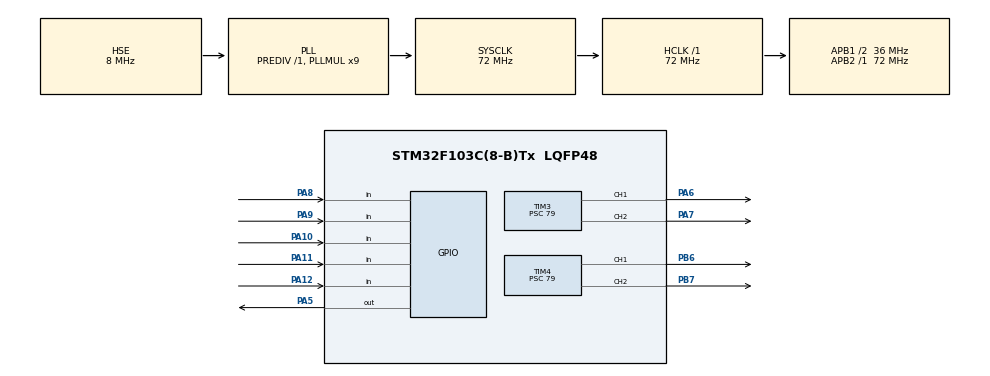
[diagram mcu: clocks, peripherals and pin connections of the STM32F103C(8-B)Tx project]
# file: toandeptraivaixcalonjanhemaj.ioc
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Mcu.Family=STM32F1
Mcu.Name=STM32F103C(8-B)Tx
Mcu.Package=LQFP48
NVIC.PriorityGroup=NVIC_PRIORITYGROUP_4
NVIC.TIM1_UP_IRQn=true\:0\:0\:false\:false\:true\:true\:true\:true
PA10.Signal=GPIO_Input
PA11.Signal=GPIO_Input
PA12.Signal=GPIO_Input
PA13.Mode=Serial_Wire
PA13.Signal=SYS_JTMS-SWDIO
PA14.Mode=Serial_Wire
PA14.Signal=SYS_JTCK-SWCLK
PA5.Signal=GPIO_Output
PA6.Signal=S_TIM3_CH1
PA7.Signal=S_TIM3_CH2
PA8.Signal=GPIO_Input
PA9.Signal=GPIO_Input
PB6.Signal=S_TIM4_CH1
PB7.Signal=S_TIM4_CH2
PD0-OSC_IN.Mode=HSE-External-Oscillator
PD0-OSC_IN.Signal=RCC_OSC_IN
PD1-OSC_OUT.Mode=HSE-External-Oscillator
PD1-OSC_OUT.Signal=RCC_OSC_OUT
ProjectManager.HeapSize=0x200
ProjectManager.StackSize=0x400
ProjectManager.TargetToolchain=STM32CubeIDE
RCC.AHBFreq_Value=72000000
RCC.APB1CLKDivider=RCC_HCLK_DIV2
RCC.APB1Freq_Value=36000000
RCC.APB1TimFreq_Value=72000000
RCC.APB2Freq_Value=72000000
RCC.APB2TimFreq_Value=72000000
RCC.HCLKFreq_Value=72000000
RCC.PLLMUL=RCC_PLL_MUL9
RCC.PLLSourceVirtual=RCC_PLLSOURCE_HSE
RCC.SYSCLKFreq_VALUE=72000000
RCC.SYSCLKSource=RCC_SYSCLKSOURCE_PLLCLK
RCC.USBFreq_Value=72000000
SH.S_TIM3_CH1.0=TIM3_CH1,PWM Generation1 CH1
SH.S_TIM3_CH2.0=TIM3_CH2,PWM Generation2 CH2
SH.S_TIM4_CH1.0=TIM4_CH1,PWM Generation1 CH1
SH.S_TIM4_CH2.0=TIM4_CH2,PWM Generation2 CH2
TIM3.Channel-PWM\ Generation1\ CH1=TIM_CHANNEL_1
TIM3.Channel-PWM\ Generation2\ CH2=TIM_CHANNEL_2
TIM3.Period=999
TIM3.Prescaler=79
TIM3.Pulse-PWM\ Generation1\ CH1=499
TIM3.Pulse-PWM\ Generation2\ CH2=499
TIM4.Channel-PWM\ Generation1\ CH1=TIM_CHANNEL_1
TIM4.Channel-PWM\ Generation2\ CH2=TIM_CHANNEL_2
TIM4.Period=999
TIM4.Prescaler=79
TIM4.Pulse-PWM\ Generation1\ CH1=499
TIM4.Pulse-PWM\ Generation2\ CH2=499
VP_TIM1_VS_ClockSourceINT.Mode=Internal
VP_TIM3_VS_ClockSourceINT.Mode=Internal
VP_TIM4_VS_ClockSourceINT.Mode=Internal
board=custom

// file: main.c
/* USER CODE BEGIN Header */
/**
  ******************************************************************************
  * @file           : main.c
  * @brief          : Main program body
  ******************************************************************************
  * @attention
  *
  * Copyright (c) 2024 STMicroelectronics.
  * All rights reserved.
  *
  * This software is licensed under terms that can be found in the LICENSE file
  * in the root directory of this software component.
  * If no LICENSE file comes with this software, it is provided AS-IS.
  *
  ******************************************************************************
  */
  /* USER CODE END Header */
  /* Includes ------------------------------------------------------------------*/
#include "main.h"
#include "stm32f1xx_hal.h"

TIM_HandleTypeDef htim1;
TIM_HandleTypeDef htim3;
TIM_HandleTypeDef htim4;

void SystemClock_Config(void);
static void MX_GPIO_Init(void);
static void MX_TIM1_Init(void);
static void MX_TIM3_Init(void);
static void MX_TIM4_Init(void);

int main(void)
{

	/* MCU Configuration--------------------------------------------------------*/

	/* Reset of all peripherals, Initializes the Flash interface and the Systick. */
	HAL_Init();

	/* Configure the system clock */
	SystemClock_Config();

	/* Initialize all configured peripherals */
	MX_GPIO_Init();
	MX_TIM1_Init();
	MX_TIM3_Init();
	MX_TIM4_Init();

	/* Infinite loop */
	/* USER CODE BEGIN WHILE */
	while (1)
	{
#define SENSOR1_GPIO_Port GPIOA
#define SENSOR1_Pin GPIO_PIN_8

#define SENSOR2_GPIO_Port GPIOA
#define SENSOR2_Pin GPIO_PIN_9

#define SENSOR3_GPIO_Port GPIOA
#define SENSOR3_Pin GPIO_PIN_10

#define SENSOR4_GPIO_Port GPIOA
#define SENSOR4_Pin GPIO_PIN_11

#define SENSOR5_GPIO_Port GPIOA
#define SENSOR5_Pin GPIO_PIN_12

#define SENSOR6_GPIO_Port GPIOA
#define SENSOR6_Pin GPIO_PIN_13
#define LEDON_GPIO_Port GPIOA
#define LEDON_Pin GPIO_PIN_5
		/* USER CODE END PTD */

		/* Private define ------------------------------------------------------------*/
		/* USER CODE BEGIN PD */
		/* USER CODE END PD */

		/* Private macro -------------------------------------------------------------*/
		/* USER CODE BEGIN PM */

		/* USER CODE END PM */

		/* Private variables ---------------------------------------------------------*/

		/* USER CODE BEGIN PV */
		int sensor_read = 0x000000;
		int position;

		float Kp = 10; //set up the constants value
		// float Ki = 0.001;
		float Kd = 15;
		//float Kr = 0;
		int P, I, D;
		int lastError = 0;
		int errors[10] = { 0,0,0,0,0,0,0,0,0,0 }; //chú ý
		int error_sum = 0;
		int last_end = 0;	// 0 -> Left, 1 -> Right
		int last_idle = 0;

		const uint8_t maxspeedr = 100;
		const uint8_t maxspeedl = 100;
		const uint8_t basespeedr = 92;
		const uint8_t basespeedl = 92;
		const int ARR = 10;

		int actives = 0;
		/* USER CODE END PV */

		/* Private function prototypes -----------------------------------------------*/

		/* USER CODE END PFP */

		/* Private user code ---------------------------------------------------------*/
		/* USER CODE BEGIN 0 */
		//void delay_us (uint16_t us)
		//{
			//__HAL_TIM_SET_COUNTER(&htim1,0);  // set the counter value a 0
			//while (__HAL_TIM_GET_COUNTER(&htim1) < us);  // wait for the counter to reach the us input in the parameter
		//}

		void Set_Pin_Output(GPIO_TypeDef * GPIOx, uint16_t GPIO_Pin)
		{
			GPIO_InitTypeDef GPIO_InitStruct = { 0 };
			GPIO_InitStruct.Pin = GPIO_Pin;
			GPIO_InitStruct.Mode = GPIO_MODE_OUTPUT_PP;
			GPIO_InitStruct.Speed = GPIO_SPEED_FREQ_LOW;
			HAL_GPIO_Init(GPIOx, &GPIO_InitStruct);
		}

		void Set_Pin_Input(GPIO_TypeDef * GPIOx, uint16_t GPIO_Pin)
		{
			GPIO_InitTypeDef GPIO_InitStruct = { 0 };
			GPIO_InitStruct.Pin = GPIO_Pin;
			GPIO_InitStruct.Mode = GPIO_MODE_INPUT;
			GPIO_InitStruct.Pull = GPIO_PULLUP;
			HAL_GPIO_Init(GPIOx, &GPIO_InitStruct);
		}

		void motor_control(double pos_right, double pos_left)
		{
			if (pos_left < 0)
			{
				__HAL_TIM_SET_COMPARE(&htim3, TIM_CHANNEL_1, ARR * 0);
				__HAL_TIM_SET_COMPARE(&htim3, TIM_CHANNEL_2, ARR * pos_left);
			}
			else
			{
				__HAL_TIM_SET_COMPARE(&htim3, TIM_CHANNEL_1, ARR * pos_left);
				__HAL_TIM_SET_COMPARE(&htim3, TIM_CHANNEL_2, ARR * 0);
			}
			if (pos_right < 0)
			{
				__HAL_TIM_SET_COMPARE(&htim4, TIM_CHANNEL_1, ARR * 0);
				__HAL_TIM_SET_COMPARE(&htim4, TIM_CHANNEL_2, ARR * pos_right);
			}
			else
			{
				__HAL_TIM_SET_COMPARE(&htim4, TIM_CHANNEL_1, ARR * pos_right);
				__HAL_TIM_SET_COMPARE(&htim4, TIM_CHANNEL_2, ARR * 0);
			}
		}

		void sharp_turn() {

			if (last_idle < 25)
			{
				if (last_end == 1)
					motor_control(-20, 100);
				else
					motor_control(100, -20);
			}
			else
			{
				if (last_end == 1)
					motor_control(-53, 70);
				else
					motor_control(70, -53);
			}
		}

		int QTR8_read()
		{
			//HAL_GPIO_WritePin(LEDON_GPIO_Port, LEDON_Pin, 1);

			Set_Pin_Output(SENSOR1_GPIO_Port, SENSOR1_Pin);
			Set_Pin_Output(SENSOR2_GPIO_Port, SENSOR2_Pin);
			Set_Pin_Output(SENSOR3_GPIO_Port, SENSOR3_Pin);
			Set_Pin_Output(SENSOR4_GPIO_Port, SENSOR4_Pin);
			Set_Pin_Output(SENSOR5_GPIO_Port, SENSOR5_Pin);
			//Set_Pin_Output(SENSOR6_GPIO_Port, SENSOR6_Pin);
			//Set_Pin_Output(SENSOR7_GPIO_Port, SENSOR7_Pin);
			//Set_Pin_Output(SENSOR8_GPIO_Port, SENSOR8_Pin);

			HAL_GPIO_WritePin(SENSOR1_GPIO_Port, SENSOR1_Pin, 1);
			HAL_GPIO_WritePin(SENSOR2_GPIO_Port, SENSOR2_Pin, 1);
			HAL_GPIO_WritePin(SENSOR3_GPIO_Port, SENSOR3_Pin, 1);
			HAL_GPIO_WritePin(SENSOR4_GPIO_Port, SENSOR4_Pin, 1);
			HAL_GPIO_WritePin(SENSOR5_GPIO_Port, SENSOR5_Pin, 1);
			//HAL_GPIO_WritePin (SENSOR6_GPIO_Port, SENSOR6_Pin, 1);
			//HAL_GPIO_WritePin (SENSOR7_GPIO_Port, SENSOR7_Pin, 1);
			//HAL_GPIO_WritePin (SENSOR8_GPIO_Port, SENSOR8_Pin, 1);
			HAL_Delay(1000);

			Set_Pin_Input(SENSOR1_GPIO_Port, SENSOR1_Pin);
			Set_Pin_Input(SENSOR2_GPIO_Port, SENSOR2_Pin);
			Set_Pin_Input(SENSOR3_GPIO_Port, SENSOR3_Pin);
			Set_Pin_Input(SENSOR4_GPIO_Port, SENSOR4_Pin);
			Set_Pin_Input(SENSOR5_GPIO_Port, SENSOR5_Pin);
			//Set_Pin_Input(SENSOR6_GPIO_Port, SENSOR6_Pin);
			//Set_Pin_Input(SENSOR7_GPIO_Port, SENSOR7_Pin);
			//Set_Pin_Input(SENSOR8_GPIO_Port, SENSOR8_Pin);

			// Threshold
			//delay_us(6000);

			sensor_read = 0x00000;
			int pos = 0;
			int active = 0;

			if (HAL_GPIO_ReadPin(SENSOR1_GPIO_Port, SENSOR1_Pin)) {
				sensor_read |= 0x00001;
				pos += 1000;
				active++;
				last_end = 1;
			}
			if (HAL_GPIO_ReadPin(SENSOR2_GPIO_Port, SENSOR2_Pin)) {
				sensor_read |= 0x00010;
				pos += 2000;
				active++;
			}
			if (HAL_GPIO_ReadPin(SENSOR3_GPIO_Port, SENSOR3_Pin)) {
				sensor_read |= 0x00100;
				pos += 3000;
				active++;
			}
			if (HAL_GPIO_ReadPin(SENSOR4_GPIO_Port, SENSOR4_Pin)) {
				sensor_read |= 0x01000;
				pos += 4000;
				active++;
			}
			if (HAL_GPIO_ReadPin(SENSOR5_GPIO_Port, SENSOR5_Pin)) {
				sensor_read |= 0x10000;
				pos += 5000;
				active++;
				last_end = 0;
			}
			//if (HAL_GPIO_ReadPin(SENSOR6_GPIO_Port, SENSOR6_Pin)) {
				//sensor_read |= 0x100000;
				//pos += 6000;
			//active++;
			//last_end = 0;
		 // }
			/*if (HAL_GPIO_ReadPin(SENSOR7_GPIO_Port, SENSOR7_Pin)) {
				sensor_read |= 0x01000000;
				pos += 7000;
			active++;
		  }
			if (HAL_GPIO_ReadPin(SENSOR8_GPIO_Port, SENSOR8_Pin)) {
				sensor_read |= 0x10000000;
				pos += 8000;
			active++;
				last_end = 0;
		  }*/

		  //HAL_GPIO_WritePin(LEDON_GPIO_Port, LEDON_Pin, 0);

			actives = active;
			position = pos / active;

			if (actives == 0)
				last_idle++;
			else
				last_idle = 0;

			return pos / active;
		}

		void forward_brake(int pos_right, int pos_left)
		{
			if (actives == 0)
				sharp_turn();
			else
				motor_control(pos_right, pos_left);
		}

		void past_errors(int error)
		{
			for (int i = 9; i > 0; i--)
				errors[i] = errors[i - 1];
			errors[0] = error;
		}

		int errors_sum(int index, int abs)
		{
			int sum = 0;
			for (int i = 0; i < index; i++)
			{
				if (abs == 1 && errors[i] < 0)
					sum += -errors[i];
				else
					sum += errors[i];
			}
			return sum;
		}

		void PID_control() {
			uint16_t position;
			int error = 3000 - position;
			past_errors(error);

			P = error;
			// I = errors_sum(5, 0);
			D = error - lastError;
			//  R = errors_sum(5, 1);
			lastError = error;

			int motorspeed = P * Kp + D * Kd;

			int motorspeedl = basespeedl + motorspeed; //- R*Kr;
			int motorspeedr = basespeedr - motorspeed;//- R*Kr;

			if (motorspeedl > maxspeedl)
				motorspeedl = maxspeedl;
			if (motorspeedr > maxspeedr)
				motorspeedr = maxspeedr;

			forward_brake(motorspeedr, motorspeedl);
		}

		/* USER CODE END WHILE */

	}
}

void SystemClock_Config(void)
{
	RCC_OscInitTypeDef RCC_OscInitStruct = { 0 };
	RCC_ClkInitTypeDef RCC_ClkInitStruct = { 0 };

	/** Initializes the RCC Oscillators according to the specified parameters
	* in the RCC_OscInitTypeDef structure.
	*/
	RCC_OscInitStruct.OscillatorType = RCC_OSCILLATORTYPE_HSE;
	RCC_OscInitStruct.HSEState = RCC_HSE_ON;
	RCC_OscInitStruct.HSEPredivValue = RCC_HSE_PREDIV_DIV1;
	RCC_OscInitStruct.HSIState = RCC_HSI_ON;
	RCC_OscInitStruct.PLL.PLLState = RCC_PLL_ON;
	RCC_OscInitStruct.PLL.PLLSource = RCC_PLLSOURCE_HSE;
	RCC_OscInitStruct.PLL.PLLMUL = RCC_PLL_MUL9;
	if (HAL_RCC_OscConfig(&RCC_OscInitStruct) != HAL_OK)
	{
		Error_Handler();
	}

	/** Initializes the CPU, AHB and APB buses clocks
	*/
	RCC_ClkInitStruct.ClockType = RCC_CLOCKTYPE_HCLK | RCC_CLOCKTYPE_SYSCLK
		| RCC_CLOCKTYPE_PCLK1 | RCC_CLOCKTYPE_PCLK2;
	RCC_ClkInitStruct.SYSCLKSource = RCC_SYSCLKSOURCE_PLLCLK;
	RCC_ClkInitStruct.AHBCLKDivider = RCC_SYSCLK_DIV1;
	RCC_ClkInitStruct.APB1CLKDivider = RCC_HCLK_DIV2;
	RCC_ClkInitStruct.APB2CLKDivider = RCC_HCLK_DIV1;

	if (HAL_RCC_ClockConfig(&RCC_ClkInitStruct, FLASH_LATENCY_2) != HAL_OK)
	{
		Error_Handler();
	}
}

static void MX_TIM1_Init(void)
{

	TIM_ClockConfigTypeDef sClockSourceConfig = { 0 };
	TIM_MasterConfigTypeDef sMasterConfig = { 0 };

	htim1.Instance = TIM1;
	htim1.Init.Prescaler = 0;
	htim1.Init.CounterMode = TIM_COUNTERMODE_UP;
	htim1.Init.Period = 65535;
	htim1.Init.ClockDivision = TIM_CLOCKDIVISION_DIV1;
	htim1.Init.RepetitionCounter = 0;
	htim1.Init.AutoReloadPreload = TIM_AUTORELOAD_PRELOAD_DISABLE;
	if (HAL_TIM_Base_Init(&htim1) != HAL_OK)
	{
		Error_Handler();
	}
	sClockSourceConfig.ClockSource = TIM_CLOCKSOURCE_INTERNAL;
	if (HAL_TIM_ConfigClockSource(&htim1, &sClockSourceConfig) != HAL_OK)
	{
		Error_Handler();
	}
	sMasterConfig.MasterOutputTrigger = TIM_TRGO_RESET;
	sMasterConfig.MasterSlaveMode = TIM_MASTERSLAVEMODE_DISABLE;
	if (HAL_TIMEx_MasterConfigSynchronization(&htim1, &sMasterConfig) != HAL_OK)
	{
		Error_Handler();
	}

}

static void MX_TIM3_Init(void)
{

	TIM_ClockConfigTypeDef sClockSourceConfig = { 0 };
	TIM_MasterConfigTypeDef sMasterConfig = { 0 };
	TIM_OC_InitTypeDef sConfigOC = { 0 };

	htim3.Instance = TIM3;
	htim3.Init.Prescaler = 79;
	htim3.Init.CounterMode = TIM_COUNTERMODE_UP;
	htim3.Init.Period = 999;
	htim3.Init.ClockDivision = TIM_CLOCKDIVISION_DIV1;
	htim3.Init.AutoReloadPreload = TIM_AUTORELOAD_PRELOAD_DISABLE;
	if (HAL_TIM_Base_Init(&htim3) != HAL_OK)
	{
		Error_Handler();
	}
	sClockSourceConfig.ClockSource = TIM_CLOCKSOURCE_INTERNAL;
	if (HAL_TIM_ConfigClockSource(&htim3, &sClockSourceConfig) != HAL_OK)
	{
		Error_Handler();
	}
	if (HAL_TIM_PWM_Init(&htim3) != HAL_OK)
	{
		Error_Handler();
	}
	sMasterConfig.MasterOutputTrigger = TIM_TRGO_RESET;
	sMasterConfig.MasterSlaveMode = TIM_MASTERSLAVEMODE_DISABLE;
	if (HAL_TIMEx_MasterConfigSynchronization(&htim3, &sMasterConfig) != HAL_OK)
	{
		Error_Handler();
	}
	sConfigOC.OCMode = TIM_OCMODE_PWM1;
	sConfigOC.Pulse = 499;
	sConfigOC.OCPolarity = TIM_OCPOLARITY_HIGH;
	sConfigOC.OCFastMode = TIM_OCFAST_DISABLE;
	if (HAL_TIM_PWM_ConfigChannel(&htim3, &sConfigOC, TIM_CHANNEL_1) != HAL_OK)
	{
		Error_Handler();
	}
	if (HAL_TIM_PWM_ConfigChannel(&htim3, &sConfigOC, TIM_CHANNEL_2) != HAL_OK)
	{
		Error_Handler();
	}
	HAL_TIM_MspPostInit(&htim3);

}

static void MX_TIM4_Init(void)
{

	TIM_ClockConfigTypeDef sClockSourceConfig = { 0 };
	TIM_MasterConfigTypeDef sMasterConfig = { 0 };
	TIM_OC_InitTypeDef sConfigOC = { 0 };

	htim4.Instance = TIM4;
	htim4.Init.Prescaler = 79;
	htim4.Init.CounterMode = TIM_COUNTERMODE_UP;
	htim4.Init.Period = 999;
	htim4.Init.ClockDivision = TIM_CLOCKDIVISION_DIV1;
	htim4.Init.AutoReloadPreload = TIM_AUTORELOAD_PRELOAD_DISABLE;
	if (HAL_TIM_Base_Init(&htim4) != HAL_OK)
	{
		Error_Handler();
	}
	sClockSourceConfig.ClockSource = TIM_CLOCKSOURCE_INTERNAL;
	if (HAL_TIM_ConfigClockSource(&htim4, &sClockSourceConfig) != HAL_OK)
	{
		Error_Handler();
	}
	if (HAL_TIM_PWM_Init(&htim4) != HAL_OK)
	{
		Error_Handler();
	}
	sMasterConfig.MasterOutputTrigger = TIM_TRGO_RESET;
	sMasterConfig.MasterSlaveMode = TIM_MASTERSLAVEMODE_DISABLE;
	if (HAL_TIMEx_MasterConfigSynchronization(&htim4, &sMasterConfig) != HAL_OK)
	{
		Error_Handler();
	}
	sConfigOC.OCMode = TIM_OCMODE_PWM1;
	sConfigOC.Pulse = 499;
	sConfigOC.OCPolarity = TIM_OCPOLARITY_HIGH;
	sConfigOC.OCFastMode = TIM_OCFAST_DISABLE;
	if (HAL_TIM_PWM_ConfigChannel(&htim4, &sConfigOC, TIM_CHANNEL_1) != HAL_OK)
	{
		Error_Handler();
	}
	if (HAL_TIM_PWM_ConfigChannel(&htim4, &sConfigOC, TIM_CHANNEL_2) != HAL_OK)
	{
		Error_Handler();
	}
	HAL_TIM_MspPostInit(&htim4);

}

static void MX_GPIO_Init(void)
{
	GPIO_InitTypeDef GPIO_InitStruct = { 0 };

	  /* GPIO Ports Clock Enable */
	__HAL_RCC_GPIOD_CLK_ENABLE();
	__HAL_RCC_GPIOA_CLK_ENABLE();
	__HAL_RCC_GPIOB_CLK_ENABLE();

	/*Configure GPIO pin Output Level */
	HAL_GPIO_WritePin(GPIOA, GPIO_PIN_5, GPIO_PIN_RESET);

	/*Configure GPIO pin : PA5 */
	GPIO_InitStruct.Pin = GPIO_PIN_5;
	GPIO_InitStruct.Mode = GPIO_MODE_OUTPUT_PP;
	GPIO_InitStruct.Pull = GPIO_NOPULL;
	GPIO_InitStruct.Speed = GPIO_SPEED_FREQ_LOW;
	HAL_GPIO_Init(GPIOA, &GPIO_InitStruct);

	/*Configure GPIO pins : PA8 PA9 PA10 PA11
							 PA12 */
	GPIO_InitStruct.Pin = GPIO_PIN_8 | GPIO_PIN_9 | GPIO_PIN_10 | GPIO_PIN_11
		| GPIO_PIN_12;
	GPIO_InitStruct.Mode = GPIO_MODE_INPUT;
	GPIO_InitStruct.Pull = GPIO_NOPULL;
	HAL_GPIO_Init(GPIOA, &GPIO_InitStruct);

}

void Error_Handler(void)
{
	__disable_irq();
	while (1)
	{
	}
}
